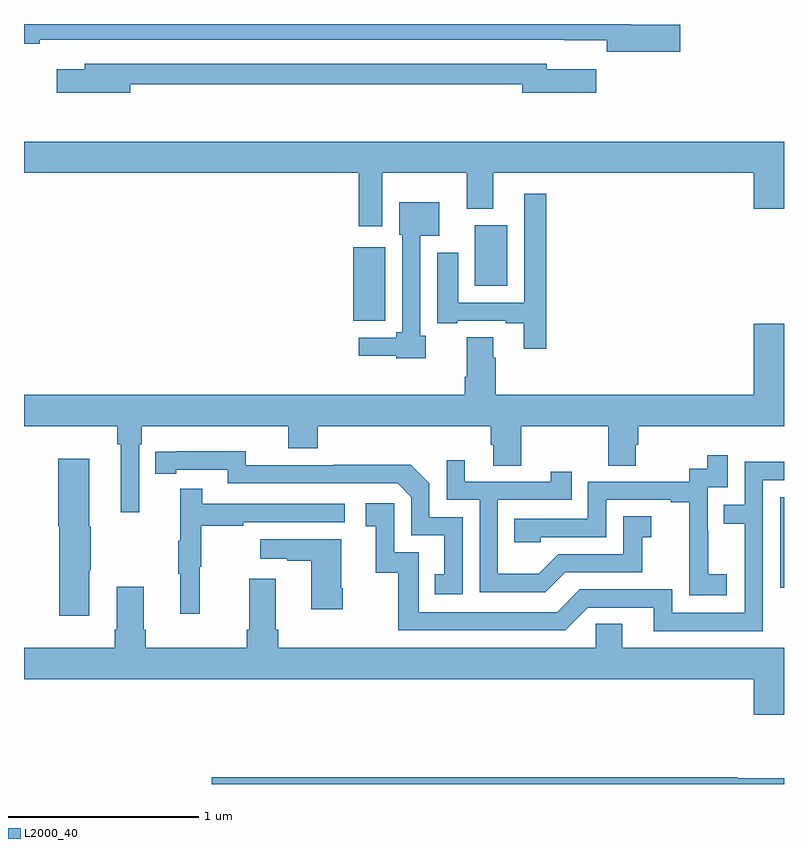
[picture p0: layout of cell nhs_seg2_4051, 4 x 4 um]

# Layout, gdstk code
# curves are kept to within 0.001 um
import gdstk
lib = gdstk.Library(unit=1e-6, precision=1e-09)
def R(c, l, rs):  # rectangles x0, y0, x1, y1
    for r in rs: c.add(gdstk.rectangle(r[:2], r[2:], *l))
def P(c, l, *ps):  # polygons
    for p in ps: c.add(gdstk.Polygon(p, *l))
L2000_40 = (2000, 40)

nhs_seg2_4051 = lib.new_cell('nhs_seg2_4051')
R(nhs_seg2_4051, L2000_40, [(332.979,598.833,333,599.31), (330.734,600.239,330.901,600.625), (331.373,600.422,331.543,600.742)])
P(nhs_seg2_4051, L2000_40, [(332.455,601.796),(332.194,601.796),(332.194,601.8),(329,601.8),(329,601.696),(329.084,601.696),(329.084,601.716),(331.846,601.716),(331.846,601.715),(332.066,601.715),(332.066,601.654),(332.455,601.654)],
  [(329.56,601.482),(331.622,601.482),(331.622,601.439),(332.011,601.439),(332.011,601.561),(331.75,601.561),(331.75,601.59),(329.321,601.59),(329.321,601.561),(329.172,601.561),(329.172,601.439),(329.56,601.439)],
  [(330.886,601.016),(331.331,601.016),(331.331,600.827),(331.471,600.827),(331.471,601.016),(332.84,601.016),(332.84,600.828),(333,600.828),(333,601.18),(329,601.18),(329,601.016),(330.761,601.016),(330.761,600.735),(330.886,600.735)],
  [(331.748,600.907),(331.632,600.907),(331.632,600.333),(331.285,600.333),(331.285,600.595),(331.175,600.595),(331.175,600.225),(331.279,600.225),(331.279,600.237),(331.535,600.237),(331.535,600.225),(331.631,600.225),(331.631,600.09),(331.748,600.09)],
  [(331.114,600.159),(331.086,600.159),(331.086,600.686),(331.186,600.686),(331.186,600.862),(330.974,600.862),(330.974,600.69),(330.99,600.69),(330.99,600.178),(330.96,600.178),(330.96,600.15),(330.762,600.15),(330.762,600.053),(330.96,600.053),(330.96,600.041),(331.114,600.041)],
  [(329.607,599.588),(329.621,599.588),(329.621,599.684),(330.392,599.684),(330.392,599.567),(330.545,599.567),(330.545,599.684),(331.457,599.684),(331.457,599.586),(331.469,599.586),(331.469,599.476),(331.617,599.476),(331.617,599.684),(332.074,599.684),(332.074,599.476),(332.221,599.476),(332.221,599.586),(332.234,599.586),(332.234,599.684),(333,599.684),(333,600.223),(332.84,600.223),(332.84,599.848),(331.484,599.848),(331.484,600.044),(331.471,600.044),(331.471,600.152),(331.331,600.152),(331.331,599.944),(331.319,599.944),(331.319,599.848),(329,599.848),(329,599.684),(329.491,599.684),(329.491,599.588),(329.51,599.588),(329.51,599.229),(329.607,599.229)],
  [(331.308,599.205),(331.134,599.205),(331.134,599.382),(331.036,599.48),(330.628,599.48),(330.628,599.478),(330.168,599.478),(330.168,599.551),(329.692,599.55),(329.692,599.434),(329.8,599.434),(329.8,599.454),(330.072,599.454),(330.072,599.382),(330.966,599.382),(331.038,599.31),(331.038,599.109),(331.211,599.109),(331.211,598.905),(331.162,598.905),(331.162,598.8),(331.308,598.8)],
  [(332.698,598.903),(332.6,598.903),(332.6,599.132),(332.598,599.132),(332.598,599.361),(332.703,599.361),(332.703,599.53),(332.595,599.53),(332.595,599.46),(332.502,599.46),(332.502,599.391),(331.968,599.391),(331.968,599.196),(331.579,599.196),(331.579,599.073),(331.719,599.073),(331.719,599.1),(332.064,599.1),(332.064,599.295),(332.405,599.295),(332.405,599.283),(332.501,599.283),(332.501,598.999),(332.5,598.999),(332.5,598.793),(332.698,598.793)],
  [(329.344,598.924),(329.352,598.924),(329.352,599.154),(329.344,599.154),(329.344,599.512),(329.18,599.512),(329.18,599.154),(329.186,599.154),(329.186,598.686),(329.344,598.686)],
  [(331.849,598.914),(332.253,598.914),(332.253,599.099),(332.302,599.099),(332.302,599.209),(332.154,599.209),(332.154,599.01),(331.812,599.01),(331.708,598.906),(331.494,598.906),(331.494,599.295),(331.883,599.295),(331.883,599.443),(331.772,599.443),(331.772,599.391),(331.321,599.391),(331.321,599.503),(331.224,599.503),(331.224,599.295),(331.398,599.295),(331.398,598.809),(331.744,598.809)],
  [(332.889,599.4),(333,599.4),(333,599.496),(332.793,599.496),(332.793,599.271),(332.683,599.271),(332.683,599.17),(332.793,599.17),(332.793,598.701),(332.412,598.701),(332.412,598.824),(331.926,598.824),(331.806,598.704),(331.077,598.704),(331.077,599.019),(330.948,599.019),(330.948,599.278),(330.798,599.278),(330.798,599.157),(330.851,599.157),(330.851,598.911),(330.969,598.911),(330.969,598.608),(331.848,598.608),(331.968,598.728),(332.315,598.728),(332.315,598.605),(332.889,598.605)],
  [(329.924,598.944),(329.932,598.944),(329.932,599.158),(330.155,599.158),(330.155,599.178),(330.688,599.178),(330.688,599.274),(329.939,599.274),(329.939,599.353),(329.822,599.353),(329.822,599.081),(329.811,599.081),(329.811,598.907),(329.822,598.907),(329.822,598.695),(329.924,598.695)],
  [(330.678,598.831),(330.67,598.831),(330.67,599.089),(330.243,599.089),(330.243,598.985),(330.386,598.985),(330.386,598.975),(330.512,598.975),(330.512,598.719),(330.678,598.719)],
  [(329.489,598.837),(329.489,598.612),(329.477,598.612),(329.477,598.516),(329,598.516),(329,598.352),(332.84,598.352),(332.84,598.164),(333,598.164),(333,598.516),(332.149,598.516),(332.149,598.643),(332.01,598.643),(332.01,598.516),(330.338,598.516),(330.338,598.612),(330.325,598.612),(330.325,598.879),(330.185,598.879),(330.185,598.612),(330.173,598.612),(330.173,598.516),(329.642,598.516),(329.642,598.612),(329.629,598.612),(329.629,598.837)],
  [(333,597.829),(332.756,597.829),(332.756,597.836),(329.987,597.836),(329.987,597.8),(333,597.8)])

lib.write_gds('nhs_seg2_4051.gds')
